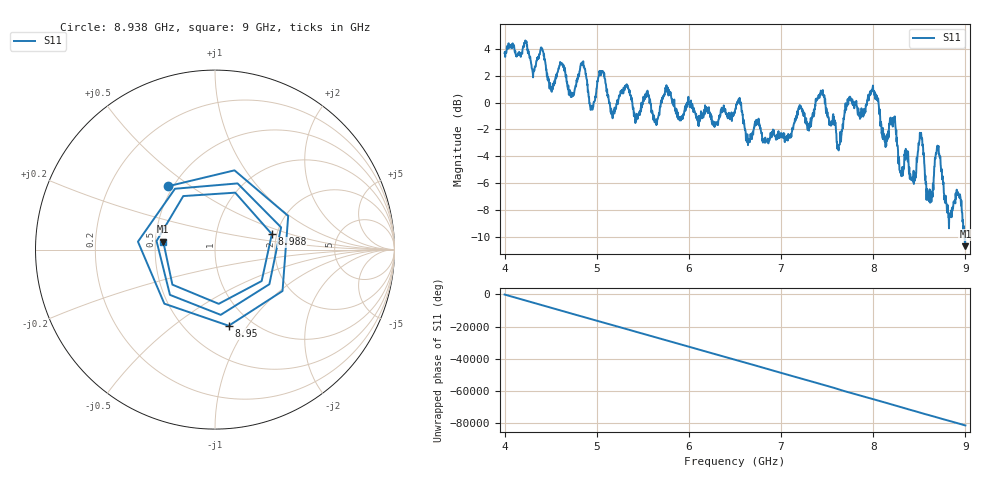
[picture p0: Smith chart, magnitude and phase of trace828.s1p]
! Created with skrf 1.8.0 (http://scikit-rf.org).
# Hz S RI R 50.0
!freq ReS11 ImS11
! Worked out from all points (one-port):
!   1601 points, 4 GHz to 9 GHz, reference 50 ohm
!   lowest |S11| = -10.7 dB at 9 GHz (marker M1), VSWR 1.82, Z = 27.5 + j2.63 ohm
!   |S11| at or under -10 dB: 8.990431 GHz to end of sweep
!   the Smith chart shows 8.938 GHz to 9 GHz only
!   S11 on the Smith chart (normalised r, x): 8.938 GHz: 0.47, +0.41; 8.95 GHz: 0.79, -0.82; 8.988 GHz: 1.88, +0.36; 9 GHz: 0.55, +0.05
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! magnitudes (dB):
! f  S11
! 4 GHz  3.7
! 4.625 GHz  2.8
! 4.734 GHz  0.6
! 4.85 GHz  2.9
! 4.944 GHz  -0.5
! 5.05 GHz  2.2
! 5.166 GHz  -0.8
! 5.25 GHz  0.5
! 5.875 GHz  -0.9
! 6.5 GHz  -0.6
! 6.641 GHz  -3.2
! 7.125 GHz  -2.0
! 7.444 GHz  0.8
! 7.628 GHz  -3.1
! 7.75 GHz  0.4
! 7.997 GHz  1.3
! 8.116 GHz  -2.6
! 8.212 GHz  -1.8
! 8.375 GHz  -4.4
! 8.441 GHz  -6.1
! 8.516 GHz  -2.5
! 8.619 GHz  -7.5
! 8.703 GHz  -3.4
! 8.816 GHz  -8.6
! 8.938 GHz  -7.1
! 8.95 GHz  -7.3
! 8.988 GHz  -9.7
! 9 GHz  -10.7
